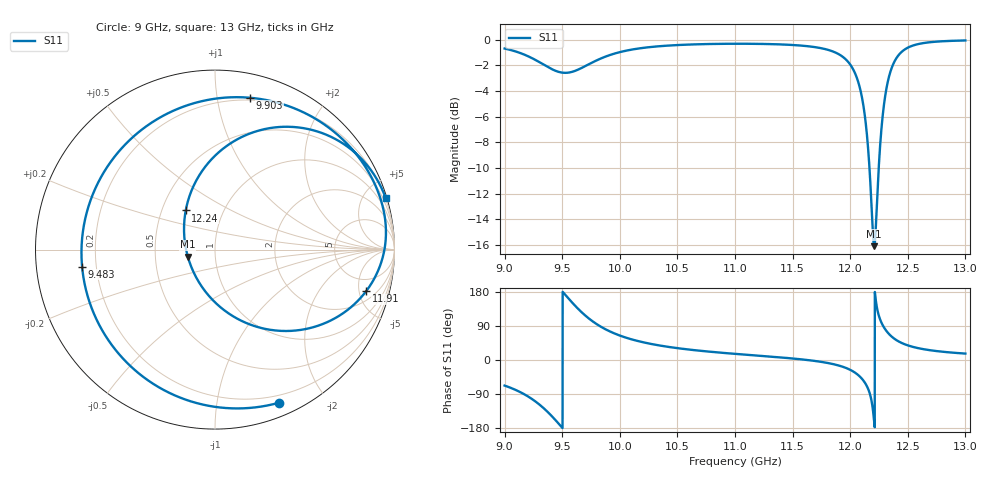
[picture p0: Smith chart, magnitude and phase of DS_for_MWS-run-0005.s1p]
! TOUCHSTONE file generated by CST DESIGN STUDIO
! Date and time: Tue Feb  4 18:29:41 2025
! Project name: C:\Work\MatlabApps\UnitCellOptimizationMatlab\CST\unitcell.cst
! Tree item: Tasks\Sweep1\SPara1\S-Parameters
! Header version: 2024
! Port assignment regex: !\s*Touchstone port\s*([0-9]+)\s*=\s*(CST MWS port|CST DES external port|CST DES block port)\s*(.+)\s* \(\"(.*)\"\)(\s*mode\s*([0-9]+))?.*
! Touchstone port assignment:
! Touchstone port 1 = CST DES external port 1 ("")
# GHz S MA R 50
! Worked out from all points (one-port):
!   4001 points, 9 GHz to 13 GHz, reference 50 ohm
!   lowest |S11| = -16.1 dB at 12.21 GHz (marker M1), VSWR 1.37, Z = 36.7 - j2.97 ohm
!   |S11| at or under -10 dB: 12.17 GHz to 12.25 GHz (80.37 MHz wide, 0.658 % of centre)
!   S11 on the Smith chart (normalised r, x): 9 GHz: 0.13, -1.49; 9.483 GHz: 0.15, -0.06; 9.903 GHz: 0.18, +1.24; 11.91 GHz: 3.01, -5.89; 12.24 GHz: 0.66, +0.31; 13 GHz: 0.15, +6.71
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9  0.9242 -67.5
9.156  0.8806 -88.0
9.27  0.833 -110.0
9.371  0.7846 -136.3
9.483  0.7466 -172.7
9.5  0.7442 -178.6
9.586  0.7495 151.7
9.694  0.7866 119.1
9.789  0.8269 96.8
9.903  0.8683 77.0
10  0.8947 64.5
10.215  0.9311 45.9
10.5  0.9534 31.3
11  0.9647 16.2
11.5  0.954 4.0
11.91  0.8733 -15.4
12  0.8005 -25.9
12.066  0.6928 -38.8
12.127  0.5058 -59.6
12.168  0.3124 -86.4
12.209  0.1565 -165.4
12.24  0.2726 126.7
12.287  0.5293 89.3
12.334  0.7094 69.5
12.41  0.8593 50.8
12.5  0.9313 38.6
12.682  0.9769 26.3
13  0.9937 16.9
